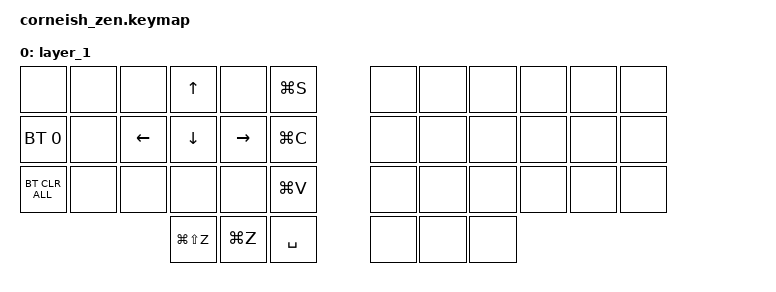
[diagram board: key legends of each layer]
/*
 * Copyright (c) 2020 The ZMK Contributors
 *
 * SPDX-License-Identifier: MIT
 */

#include <behaviors.dtsi>
#include <dt-bindings/zmk/bt.h>
#include <dt-bindings/zmk/keys.h>

/ {
    chosen { zmk,matrix_transform = &default_transform; };
};

/ {
    combos { compatible = "zmk,combos"; };

    macros {
        copy_macro: copy_macro {
            compatible = "zmk,behavior-macro";
            #binding-cells = <0>;
            bindings =
                <&macro_press>,
                <&kp LEFT_GUI>,
                <&macro_tap>,
                <&kp C>,
                <&macro_release>,
                <&kp LEFT_GUI>;

            label = "COPY_MACRO";
        };

        paste_macro: paste_macro {
            compatible = "zmk,behavior-macro";
            #binding-cells = <0>;
            bindings =
                <&macro_press>,
                <&kp LEFT_GUI>,
                <&macro_press>,
                <&kp LEFT_SHIFT>,
                <&macro_tap>,
                <&kp V>,
                <&macro_release>,
                <&kp LEFT_SHIFT>,
                <&macro_release>,
                <&kp LEFT_GUI>;

            label = "PASTE_MACRO";
        };

        save_macro: save_macro {
            compatible = "zmk,behavior-macro";
            #binding-cells = <0>;
            bindings =
                <&macro_press>,
                <&kp LEFT_GUI>,
                <&macro_tap>,
                <&kp S>,
                <&macro_release>,
                <&kp LEFT_GUI>;

            label = "SAVE_MACRO";
        };

        undo_macro: undo_macro {
            compatible = "zmk,behavior-macro";
            #binding-cells = <0>;
            bindings =
                <&macro_press>,
                <&kp LEFT_GUI>,
                <&macro_tap>,
                <&kp Z>,
                <&macro_release>,
                <&kp LEFT_GUI>;

            label = "UNDO_MACRO";
        };

        redo_macro: redo_macro {
            compatible = "zmk,behavior-macro";
            #binding-cells = <0>;
            bindings =
                <&macro_press>,
                <&kp LEFT_GUI>,
                <&macro_press>,
                <&kp LEFT_SHIFT>,
                <&macro_tap>,
                <&kp Z>,
                <&macro_release>,
                <&kp LEFT_SHIFT>,
                <&macro_release>,
                <&kp LEFT_GUI>;

            label = "REDO_MACRO";
        };
    };

    keymap {
        compatible = "zmk,keymap";

        layer_1 {
            bindings = <
&none           &none  &none           &kp UP_ARROW   &none            &kp LG(S)    &none  &none  &none  &none  &none  &none
&bt BT_SEL 0    &none  &kp LEFT_ARROW  &kp DOWN       &kp RIGHT_ARROW  &kp LG(C)    &none  &none  &none  &none  &none  &none
&bt BT_CLR_ALL  &none  &none           &none          &none            &kp LG(V)    &none  &none  &none  &none  &none  &none
                                       &kp LG(LS(Z))  &kp LG(Z)        &kp SPACE    &none  &none  &none
            >;
        };
    };

    conditional_layers { compatible = "zmk,conditional-layers"; };
};
